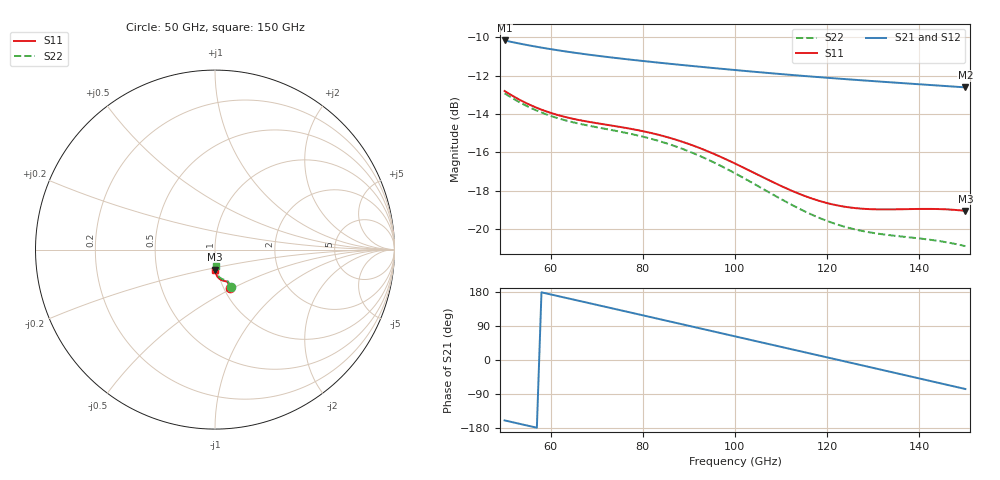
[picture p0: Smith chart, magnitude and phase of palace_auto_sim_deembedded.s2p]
! Created with skrf 1.11.0 (http://scikit-rf.org).
# GHz S DB R 50.0
!freq dBS11 angS11 dBS21 angS21 dBS12 angS12 dBS22 angS22
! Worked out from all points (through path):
!   101 points, 50 GHz to 150 GHz, reference 50 ohm
!   highest |S21| = -10.18 dB at 50 GHz (marker M1); lowest = -12.6 dB at 150 GHz (marker M2)
!   group delay of S21, straight-line fit = 7.7 ps
!   lowest |S11| = -19.0 dB at 150 GHz (marker M3), VSWR 1.25, Z = 48.9 - j11.1 ohm
!   |S11| at or under -10 dB: start of sweep to end of sweep
!   |S22| runs from -20.9 to -12.9 dB; largest |S21 - S12| = 4.3e-15
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50  -12.80 -68.1  -10.18 -159.4  -10.18 -159.4  -12.92 -67.3
54  -13.35 -68.3  -10.37 -170.5  -10.37 -170.5  -13.48 -67.5
58  -13.77 -68.4  -10.55 178.5  -10.55 178.5  -13.92 -67.6
62  -14.08 -68.7  -10.70 167.5  -10.70 167.5  -14.25 -67.8
67  -14.35 -69.4  -10.87 153.8  -10.87 153.8  -14.54 -68.6
72  -14.55 -70.9  -11.03 140.0  -11.03 140.0  -14.78 -70.0
76  -14.71 -72.6  -11.14 129.0  -11.14 129.0  -14.96 -71.8
80  -14.89 -74.6  -11.24 117.9  -11.24 117.9  -15.18 -73.8
84  -15.12 -76.9  -11.34 106.8  -11.34 106.8  -15.44 -76.2
88  -15.40 -79.3  -11.44 95.7  -11.44 95.7  -15.76 -78.6
92  -15.74 -81.6  -11.53 84.6  -11.53 84.6  -16.14 -81.0
96  -16.13 -83.7  -11.63 73.5  -11.63 73.5  -16.58 -83.2
100  -16.57 -85.4  -11.71 62.4  -11.71 62.4  -17.08 -85.1
109  -17.63 -87.5  -11.90 37.4  -11.90 37.4  -18.29 -87.4
113  -18.06 -87.5  -11.98 26.3  -11.98 26.3  -18.81 -87.5
117  -18.42 -87.0  -12.06 15.2  -12.06 15.2  -19.27 -87.2
121  -18.69 -86.3  -12.13 4.1  -12.13 4.1  -19.65 -86.4
125  -18.86 -85.5  -12.20 -7.0  -12.20 -7.0  -19.94 -85.6
129  -18.94 -85.0  -12.27 -18.1  -12.27 -18.1  -20.14 -84.9
134  -18.96 -84.9  -12.36 -32.0  -12.36 -32.0  -20.31 -84.5
142  -18.93 -86.4  -12.49 -54.3  -12.49 -54.3  -20.53 -85.4
150  -19.04 -89.5  -12.62 -76.6  -12.62 -76.6  -20.87 -87.6
